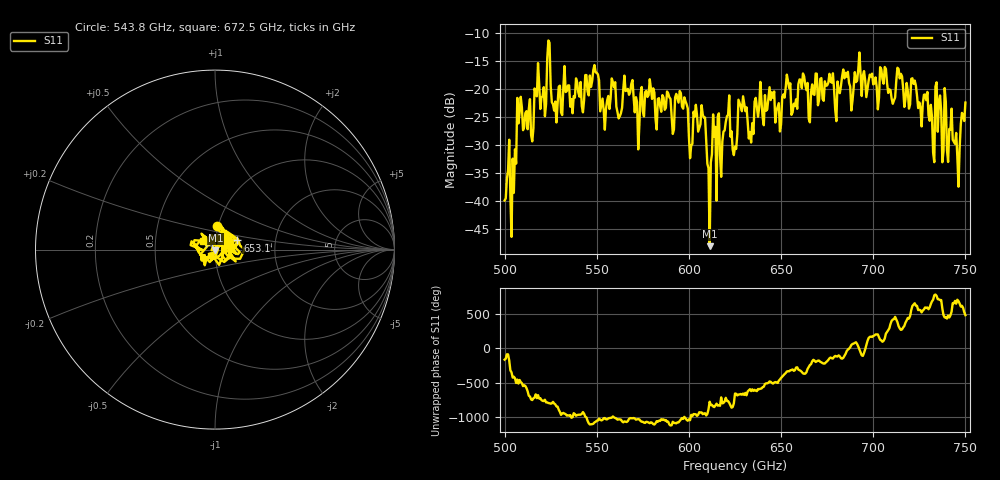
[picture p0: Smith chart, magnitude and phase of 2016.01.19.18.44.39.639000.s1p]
!Created with skrf (http://scikit-rf.org).
# GHz S RI R 50.0
!freq ReS11 ImS11
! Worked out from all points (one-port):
!   401 points, 500 GHz to 750 GHz, reference 50 ohm
!   lowest |S11| = -48.1 dB at 611.2 GHz (marker M1), VSWR 1.01, Z = 50.2 - j0.34 ohm
!   |S11| at or under -10 dB: start of sweep to end of sweep
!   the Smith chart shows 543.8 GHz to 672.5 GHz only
!   S11 on the Smith chart (normalised r, x): 543.8 GHz: 0.99, +0.27; 653.1 GHz: 1.28, +0.13; 672.5 GHz: 0.87, +0.09
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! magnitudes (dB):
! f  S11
! 500 GHz  -39.9
! 505 GHz  -38.5
! 508.1 GHz  -24.1
! 514.4 GHz  -28.2
! 523.8 GHz  -11.3
! 526.9 GHz  -23.8
! 531.2 GHz  -24.6
! 543.8 GHz  -17.5
! 549.4 GHz  -17.0
! 562.5 GHz  -24.8
! 593.8 GHz  -21.6
! 600.6 GHz  -32.3
! 607.5 GHz  -24.5
! 611.2 GHz  -48.1
! 613.1 GHz  -24.5
! 620.6 GHz  -24.8
! 625 GHz  -30.3
! 628.1 GHz  -23.1
! 633.8 GHz  -29.5
! 653.1 GHz  -17.4
! 656.2 GHz  -24.1
! 672.5 GHz  -21.7
! 687.5 GHz  -19.5
! 718.8 GHz  -20.3
! 731.9 GHz  -24.9
! 735 GHz  -27.6
! 745.6 GHz  -32.0
! 750 GHz  -22.4
